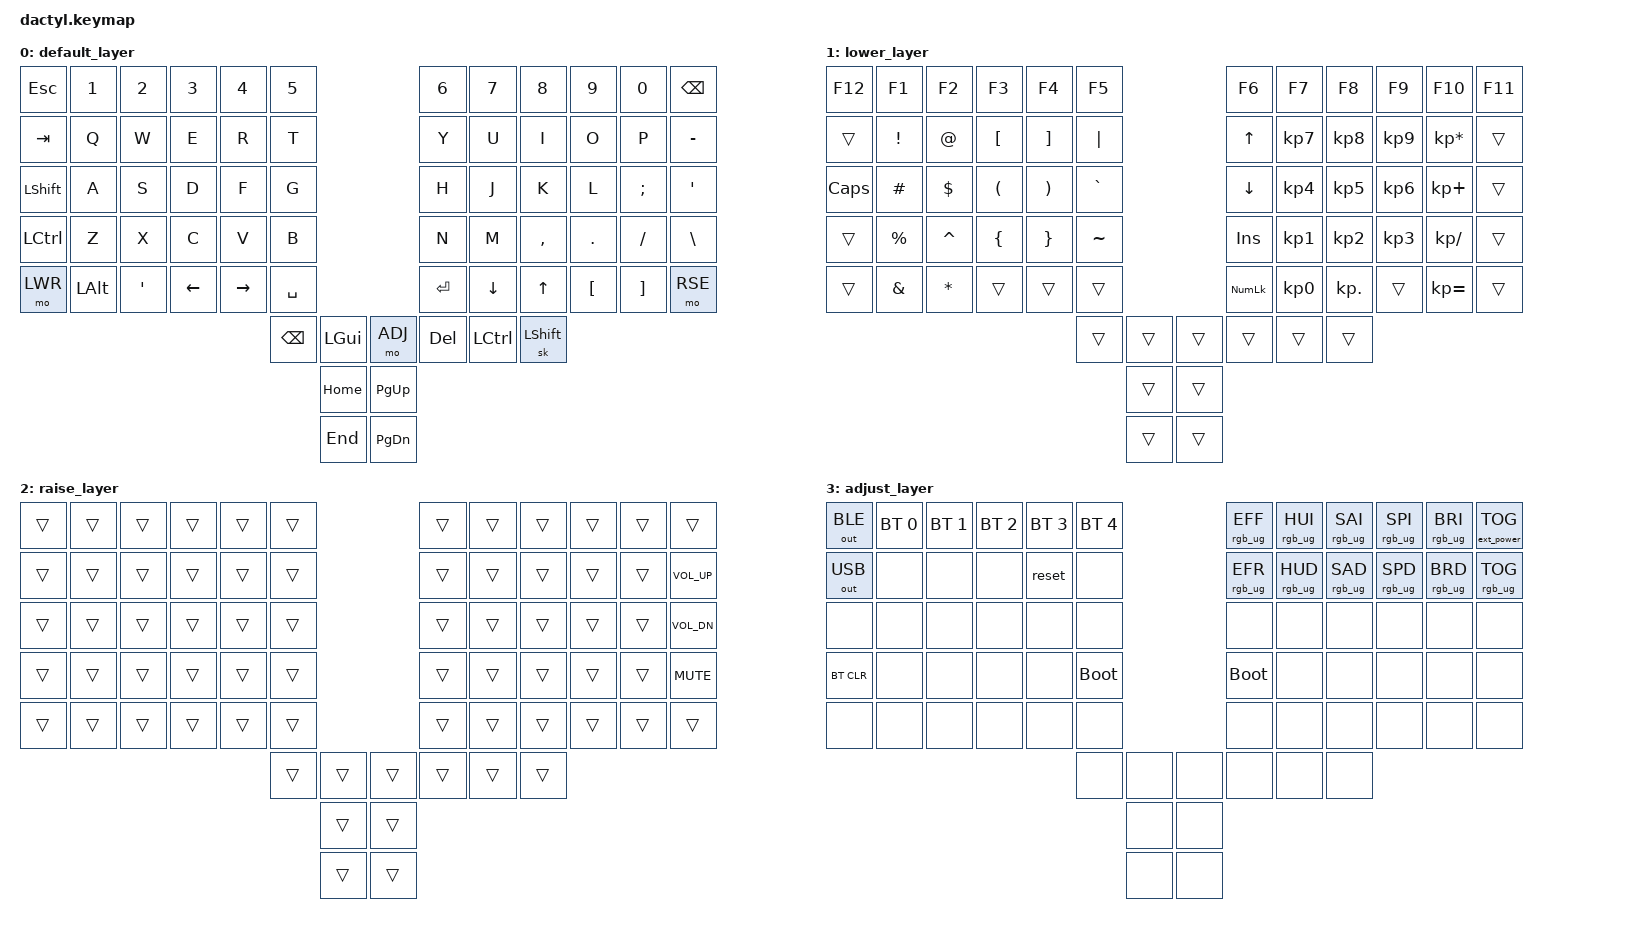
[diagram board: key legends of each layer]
#include <behaviors.dtsi>
#include <dt-bindings/zmk/keys.h>
#include <dt-bindings/zmk/bt.h>
#include <dt-bindings/zmk/rgb.h>
#include <dt-bindings/zmk/ext_power.h>
#include <dt-bindings/zmk/outputs.h>

#define DEFAULT 0
#define LWR 1
#define RSE 2
#define ADJ 3

/ {
    keymap {
        compatible = "zmk,keymap";

        default_layer {
            bindings = <
                &kp ESC   &kp N1   &kp N2   &kp N3    &kp N4    &kp N5                                         &kp N6  &kp N7   &kp N8    &kp N9   &kp N0   &kp BSPC
                &kp TAB   &kp Q    &kp W    &kp E     &kp R     &kp T                                          &kp Y   &kp U    &kp I     &kp O    &kp P    &kp MINUS
                &kp LSHFT &kp A    &kp S    &kp D     &kp F     &kp G                                          &kp H   &kp J    &kp K     &kp L    &kp SEMI &kp SQT
                &kp LCTRL &kp Z    &kp X    &kp C     &kp V     &kp B                                          &kp N   &kp M    &kp COMMA &kp DOT  &kp FSLH &kp BSLH
                &mo LWR   &kp LALT &kp SQT  &kp LEFT  &kp RIGHT &kp SPACE                                      &kp RET &kp DOWN &kp UP    &kp LBKT &kp RBKT &mo RSE
                                                                &kp BSPC  &kp LGUI &mo ADJ   &kp DEL &kp LCTRL &sk LSHFT
                                                                                   &kp HOME  &kp PG_UP
                                                                                   &kp END   &kp PG_DN
            >;
        };

        lower_layer {
            bindings = <
                &kp F12  &kp F1    &kp F2    &kp F3    &kp F4    &kp F5                                   &kp F6     &kp F7    &kp F8     &kp F9     &kp F10         &kp F11
                &trans   &kp EXCL  &kp AT    &kp LBKT &kp RBKT   &kp PIPE                                 &kp UP     &kp KP_N7 &kp KP_N8  &kp KP_N9  &kp KP_ASTERISK &trans
                &kp CAPS &kp HASH  &kp DLLR  &kp LPAR &kp RPAR   &kp GRAVE                                &kp DOWN   &kp KP_N4 &kp KP_N5  &kp KP_N6  &kp KP_PLUS     &trans
                &trans   &kp PRCNT &kp CARET &kp LBRC &kp RBRC   &kp TILDE                                &kp INS    &kp KP_N1 &kp KP_N2  &kp KP_N3  &kp KP_SLASH    &trans
                &trans   &kp AMPS  &kp ASTRK &trans    &trans    &trans                                   &kp KP_NUM &kp KP_N0 &kp KP_DOT    &trans  &kp KP_EQUAL    &trans
                                                                    &trans &trans &trans    &trans &trans &trans
                                                                                  &trans    &trans
                                                                                  &trans    &trans
            >;
        };

        raise_layer {
            bindings = <
                &trans    &trans      &trans    &trans    &trans    &trans                                &trans    &trans   &trans    &trans   &trans   &trans
                &trans    &trans      &trans    &trans    &trans    &trans                                &trans    &trans   &trans    &trans   &trans   &kp K_VOL_UP
                &trans    &trans      &trans    &trans    &trans    &trans                                &trans    &trans   &trans    &trans   &trans   &kp K_VOL_DN
                &trans    &trans      &trans    &trans    &trans    &trans                                &trans    &trans   &trans    &trans   &trans   &kp K_MUTE
                &trans    &trans      &trans    &trans    &trans    &trans                                &trans    &trans   &trans    &trans   &trans   &trans
                                                                    &trans &trans &trans    &trans &trans &trans
                                                                                  &trans    &trans
                                                                                  &trans    &trans
            >;
        };

        adjust_layer {
            bindings = <
                &out OUT_BLE &bt BT_SEL 0 &bt BT_SEL 1 &bt BT_SEL 2 &bt BT_SEL 3 &bt BT_SEL 4                      &rgb_ug RGB_EFF &rgb_ug RGB_HUI &rgb_ug RGB_SAI &rgb_ug RGB_SPI &rgb_ug RGB_BRI &ext_power EP_TOG
                &out OUT_USB &none        &none        &none        &reset       &none                             &rgb_ug RGB_EFR &rgb_ug RGB_HUD &rgb_ug RGB_SAD &rgb_ug RGB_SPD &rgb_ug RGB_BRD &rgb_ug RGB_TOG
                &none        &none        &none        &none        &none        &none                             &none           &none           &none           &none           &none           &none
                &bt BT_CLR   &none        &none        &none        &none        &bootloader                       &bootloader     &none           &none           &none           &none           &none
                &none        &none        &none        &none        &none        &none                             &none           &none           &none           &none           &none           &none
                                                                                 &none &none &none     &none &none &none
                                                                                             &none     &none                         
                                                                                             &none     &none                         
            >;
        };
    };
};

// / {
//    conditional_layers {
//        compatible = "zmk,conditional-layers";
//        tri_layer {
//            if-layers = <LWR RSE>;
//            then-layer = <ADJ>;
//        };
//    };
// }; 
